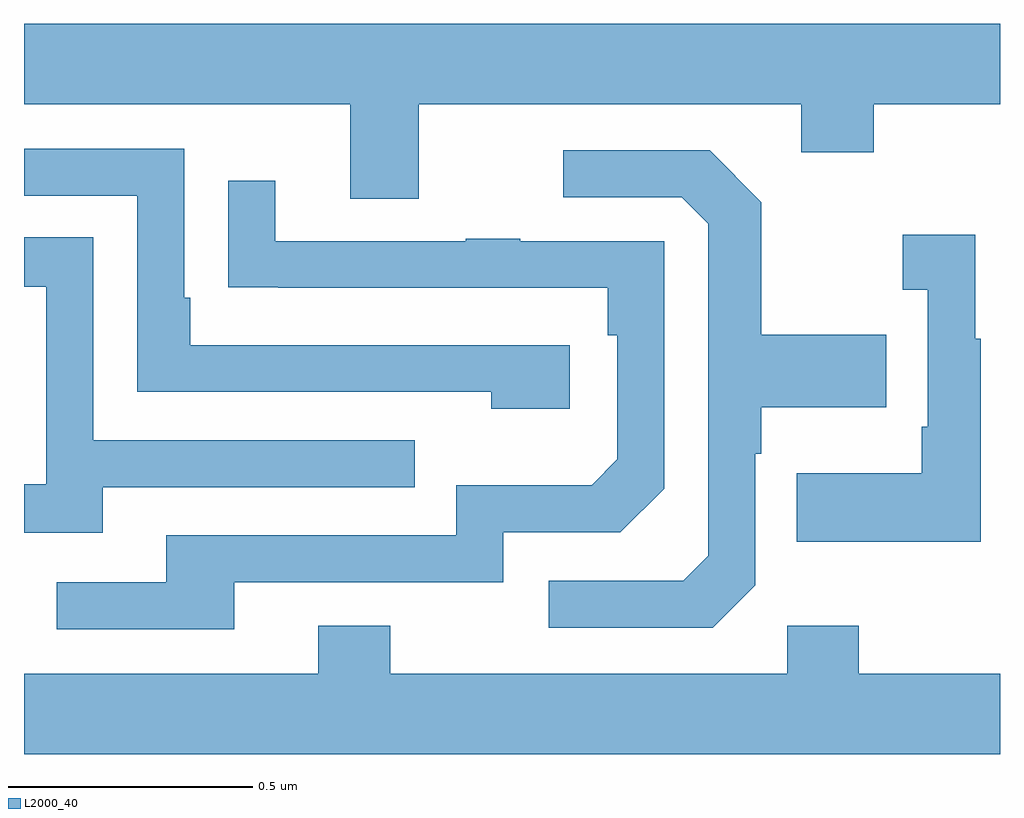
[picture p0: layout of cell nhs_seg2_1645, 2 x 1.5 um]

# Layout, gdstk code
import gdstk
lib = gdstk.Library(unit=1e-6, precision=1e-09)
def P(c, l, *ps):  # polygons
    for p in ps: c.add(gdstk.Polygon(p, *l))
L2000_40 = (2000, 40)

nhs_seg2_1645 = lib.new_cell('nhs_seg2_1645')
P(nhs_seg2_1645, L2000_40, [(131.809,618.332),(132.593,618.332),(132.593,618.233),(132.741,618.233),(132.741,618.332),(133,618.332),(133,618.496),(131,618.496),(131,618.332),(131.669,618.332),(131.669,618.138),(131.809,618.138)],
  [(132.118,617.838),(131.341,617.838),(131.341,617.935),(131.328,617.935),(131.328,618.24),(131,618.24),(131,618.144),(131.232,618.144),(131.232,617.742),(131.957,617.742),(131.957,617.708),(132.118,617.708)],
  [(132.498,617.346),(132.498,617.615),(132.511,617.615),(132.511,617.711),(132.767,617.711),(132.767,617.859),(132.511,617.859),(132.511,618.131),(132.405,618.237),(132.105,618.237),(132.105,618.141),(132.348,618.141),(132.402,618.087),(132.402,617.406),(132.351,617.355),(132.075,617.355),(132.075,617.259),(132.411,617.259)],
  [(131.431,617.352),(131.982,617.352),(131.982,617.454),(132.222,617.454),(132.312,617.544),(132.312,618.051),(132.017,618.051),(132.017,618.056),(131.905,618.056),(131.905,618.051),(131.515,618.051),(131.515,618.175),(131.419,618.175),(131.419,617.956),(131.521,617.956),(131.521,617.955),(132.196,617.955),(132.196,617.858),(132.216,617.858),(132.216,617.604),(132.163,617.551),(131.886,617.551),(131.886,617.448),(131.291,617.448),(131.291,617.352),(131.067,617.352),(131.067,617.256),(131.431,617.256)],
  [(132.961,617.851),(132.949,617.851),(132.949,618.064),(132.801,618.064),(132.801,617.951),(132.852,617.951),(132.852,617.671),(132.84,617.671),(132.84,617.575),(132.583,617.575),(132.583,617.435),(132.961,617.435)],
  [(131.161,617.547),(131.801,617.547),(131.801,617.643),(131.142,617.643),(131.142,618.059),(131,618.059),(131,617.958),(131.046,617.958),(131.046,617.553),(131,617.553),(131,617.453),(131.161,617.453)],
  [(133,617.164),(132.711,617.164),(132.711,617.263),(132.564,617.263),(132.564,617.164),(131.751,617.164),(131.751,617.263),(131.603,617.263),(131.603,617.164),(131,617.164),(131,617),(133,617)])

lib.write_gds('nhs_seg2_1645.gds')
